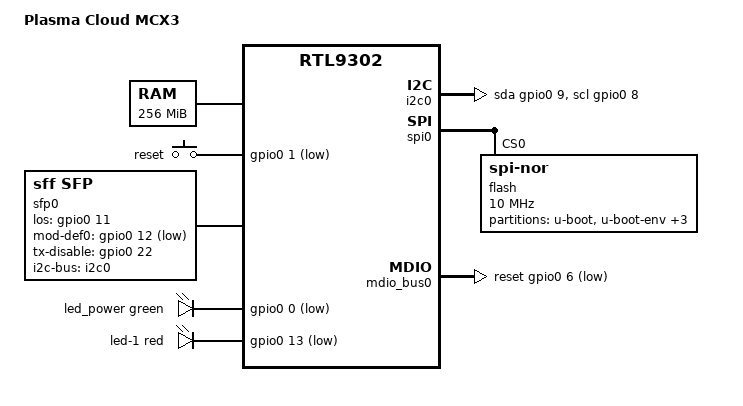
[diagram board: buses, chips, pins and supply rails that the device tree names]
// SPDX-License-Identifier: GPL-2.0-or-later
/dts-v1/;

#include "rtl930x.dtsi"

#include <dt-bindings/input/input.h>
#include <dt-bindings/gpio/gpio.h>
#include <dt-bindings/leds/common.h>

/ {
	compatible = "plasmacloud,mcx3", "realtek,rtl9302-soc";
	model = "Plasma Cloud MCX3";

	chosen {
		/* get active mtdparts from u-boot */
		/delete-property/ bootargs;
	};

	aliases {
		led-boot = &led_power;
		led-running = &led_power;
		led-failsafe = &led_power;
		led-upgrade = &led_power;
		label-mac-device = &ethernet0;
	};

	memory@0 {
		reg = <0x0 0x10000000>;
	};

	keys {
		compatible = "gpio-keys";

		mode {
			label = "reset";
			gpios = <&gpio0 1 GPIO_ACTIVE_LOW>;
			linux,code = <KEY_RESTART>;
		};
	};

	i2c0: i2c-gpio0 {
		compatible = "i2c-gpio";
		#address-cells = <1>;
		#size-cells = <0>;

		sda-gpios = <&gpio0 9 GPIO_ACTIVE_HIGH>;
		scl-gpios = <&gpio0 8 GPIO_ACTIVE_HIGH>;

		i2c-gpio,delay-us = <5>;	/* ~100 kHz */
	};


	sfp0: sfp-lan3 {
		compatible = "sff,sfp";
		i2c-bus = <&i2c0>;
		los-gpio = <&gpio0 11 GPIO_ACTIVE_HIGH>;
		mod-def0-gpio = <&gpio0 12 GPIO_ACTIVE_LOW>;
		tx-disable-gpio = <&gpio0 22 GPIO_ACTIVE_HIGH>;
	};

	leds {
		compatible = "gpio-leds";

		pinctrl-names = "default";
		pinctrl-0 = <&pinmux_disable_sys_led>;

		led_power: led-0 {
			color = <LED_COLOR_ID_GREEN>;
			function = LED_FUNCTION_POWER;
			gpios = <&gpio0 0 GPIO_ACTIVE_LOW>;
			default-state = "on";
		};

		led-1 {
			color = <LED_COLOR_ID_RED>;
			function = LED_FUNCTION_STATUS;
			gpios = <&gpio0 13 GPIO_ACTIVE_LOW>;
			default-state = "on";
			linux,default-trigger = "heartbeat";
		};
	};

	led_set@0 {
		compatible = "realtek,rtl9300-leds";
		active-low;

		led_set0 = <(RTL93XX_LED_SET_10G | RTL93XX_LED_SET_5G |
			     RTL93XX_LED_SET_2P5G | RTL93XX_LED_SET_1G |
			     RTL93XX_LED_SET_100M | RTL93XX_LED_SET_10M |
			     RTL93XX_LED_SET_LINK | RTL93XX_LED_SET_ACT)>;
	};
};

&spi0 {
	status = "okay";

	flash@0 {
		compatible = "jedec,spi-nor";
		reg = <0>;
		spi-max-frequency = <10000000>;

		partitions {
			compatible = "fixed-partitions";
			#address-cells = <1>;
			#size-cells = <1>;

			partition@0 {
				label = "u-boot";
				reg = <0x0 0xe0000>;
				read-only;
			};

			partition@e0000 {
				label = "u-boot-env";
				reg = <0xe0000 0x10000>;

				nvmem-layout {
					compatible = "u-boot,env";

					macaddr_ubootenv_ethaddr: ethaddr {
						#nvmem-cell-cells = <1>;
					};
				};
			};

			partition@f0000 {
				label = "u-boot-env2";
				reg = <0xf0000 0x10000>;
			};

			partition@100000 {
				label = "firmware1";
				reg = <0x100000 0xf80000>;
				compatible = "openwrt,uimage", "denx,uimage";
				openwrt,ih-magic = <0x93000000>;
			};

			partition@1080000 {
				label = "firmware2";
				reg = <0x1080000 0xf80000>;
				compatible = "openwrt,uimage", "denx,uimage";
				openwrt,ih-magic = <0x93000000>;
			};
		};
	};
};

&ethernet0 {
	nvmem-cells = <&macaddr_ubootenv_ethaddr 0>;
	nvmem-cell-names = "mac-address";
};

&mdio_bus0 {
	reset-gpios = <&gpio0 6 GPIO_ACTIVE_LOW>;
	reset-assert-us = <100000>;
	reset-deassert-us = <100000>;

	PHY_C45(0, 0)
	PHY_C45(1, 1)
};

&switch0 {
	ethernet-ports {
		#address-cells = <1>;
		#size-cells = <0>;

		SWITCH_PORT_SDS(0, 2, 2, 0, 10g-qxgmii)
		SWITCH_PORT_SDS(1, 1, 2, 1, 10g-qxgmii)

		SWITCH_PORT_SFP(26, 3, 8, 0, 0)

		/* CPU-port */
		port@28 {
			ethernet = <&ethernet0>;
			reg = <28>;
			phy-mode = "internal";
			fixed-link {
				speed = <1000>;
				full-duplex;
			};
		};
	};
};

&port0 {
	nvmem-cells = <&macaddr_ubootenv_ethaddr 2>;
	nvmem-cell-names = "mac-address";
};

&port1 {
	nvmem-cells = <&macaddr_ubootenv_ethaddr 1>;
	nvmem-cell-names = "mac-address";
};

&port26 {
	nvmem-cells = <&macaddr_ubootenv_ethaddr 3>;
	nvmem-cell-names = "mac-address";
};
